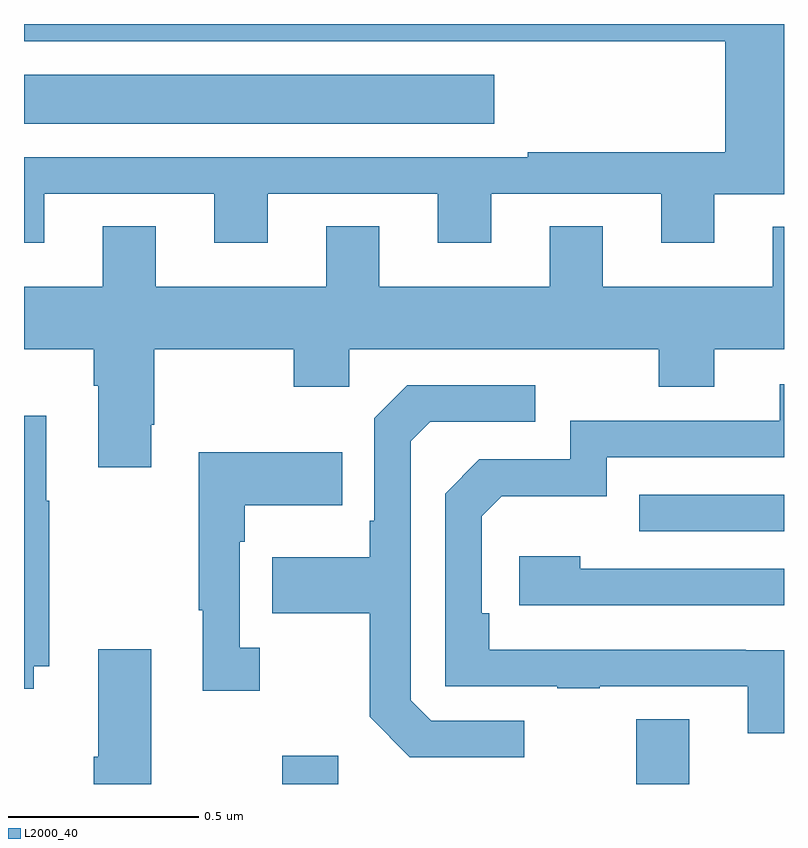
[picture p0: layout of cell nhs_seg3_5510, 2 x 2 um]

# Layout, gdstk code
import gdstk
lib = gdstk.Library(unit=1e-6, precision=1e-09)
def R(c, l, rs):  # rectangles x0, y0, x1, y1
    for r in rs: c.add(gdstk.rectangle(r[:2], r[2:], *l))
def P(c, l, *ps):  # polygons
    for p in ps: c.add(gdstk.Polygon(p, *l))
L2000_40 = (2000, 40)

nhs_seg3_5510 = lib.new_cell('nhs_seg3_5510')
R(nhs_seg3_5510, L2000_40, [(179.68,738.4,179.827,738.475), (180.611,738.4,180.751,738.571), (180.619,739.065,181,739.161), (179,740.138,180.238,740.266)])
P(nhs_seg3_5510, L2000_40, [(179.053,739.953),(179.501,739.953),(179.501,739.824),(179.641,739.824),(179.641,739.953),(180.089,739.953),(180.089,739.824),(180.229,739.824),(180.229,739.953),(180.677,739.953),(180.677,739.824),(180.817,739.824),(180.817,739.952),(181,739.952),(181,740.4),(179,740.4),(179,740.354),(180.845,740.354),(180.845,740.062),(180.325,740.062),(180.325,740.049),(179,740.049),(179,739.824),(179.053,739.824)],
  [(179.335,739.345),(179.343,739.345),(179.343,739.544),(179.71,739.544),(179.71,739.445),(179.856,739.445),(179.856,739.544),(180.67,739.544),(180.67,739.445),(180.817,739.445),(180.817,739.544),(181,739.544),(181,739.867),(180.971,739.867),(180.971,739.708),(180.523,739.708),(180.523,739.868),(180.383,739.868),(180.383,739.708),(179.935,739.708),(179.935,739.868),(179.795,739.868),(179.795,739.708),(179.347,739.708),(179.347,739.868),(179.207,739.868),(179.207,739.708),(179,739.708),(179,739.544),(179.183,739.544),(179.183,739.448),(179.195,739.448),(179.195,739.233),(179.335,739.233)],
  [(181,738.752),(180.899,738.752),(180.899,738.753),(180.224,738.753),(180.224,738.85),(180.204,738.85),(180.204,739.104),(180.257,739.157),(180.534,739.157),(180.534,739.26),(181,739.26),(181,739.452),(180.989,739.452),(180.989,739.356),(180.438,739.356),(180.438,739.254),(180.198,739.254),(180.108,739.164),(180.108,738.657),(180.403,738.657),(180.403,738.652),(180.515,738.652),(180.515,738.657),(180.905,738.657),(180.905,738.534),(181,738.534)],
  [(180.316,738.567),(180.072,738.567),(180.018,738.621),(180.018,739.302),(180.069,739.353),(180.346,739.353),(180.346,739.449),(180.009,739.449),(179.922,739.362),(179.922,739.093),(179.91,739.093),(179.91,738.997),(179.653,738.997),(179.653,738.85),(179.91,738.85),(179.91,738.577),(180.015,738.471),(180.316,738.471)],
  [(179.026,738.71),(179.067,738.71),(179.067,739.145),(179.059,739.145),(179.059,739.369),(179,739.369),(179,738.651),(179.026,738.651)],
  [(179.62,738.758),(179.568,738.758),(179.568,739.037),(179.581,739.037),(179.581,739.133),(179.837,739.133),(179.837,739.273),(179.46,739.273),(179.46,738.857),(179.471,738.857),(179.471,738.645),(179.62,738.645)],
  [(181,738.966),(180.464,738.966),(180.464,739),(180.303,739),(180.303,738.87),(181,738.87)],
  [(179.335,738.754),(179.195,738.754),(179.195,738.472),(179.183,738.472),(179.183,738.4),(179.335,738.4)])

lib.write_gds('nhs_seg3_5510.gds')
